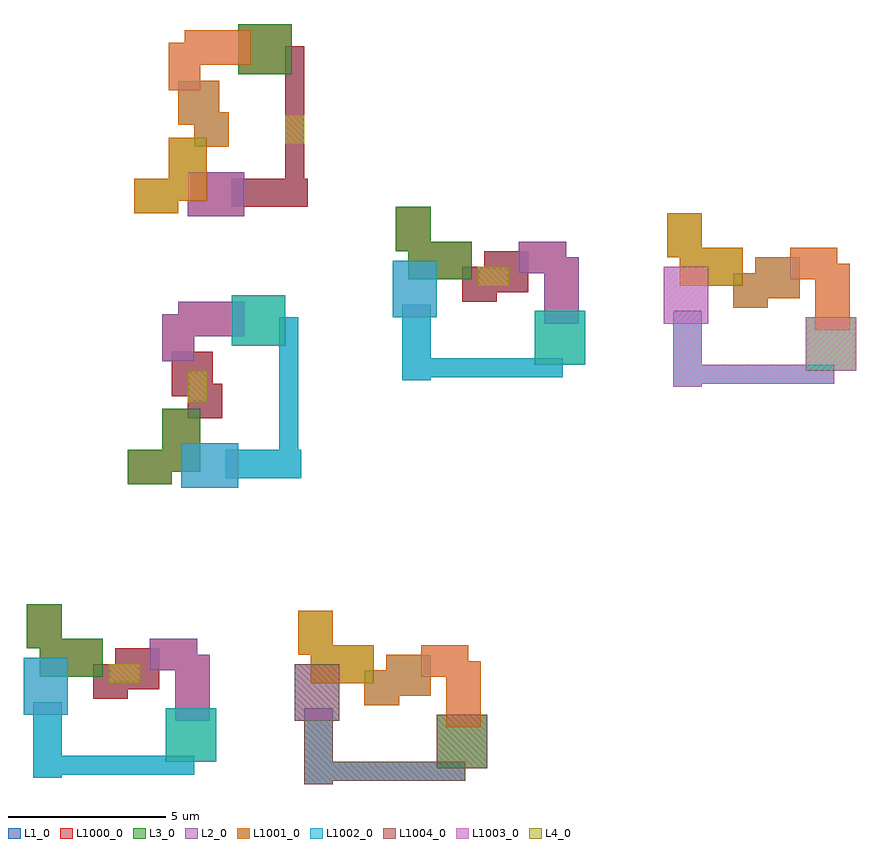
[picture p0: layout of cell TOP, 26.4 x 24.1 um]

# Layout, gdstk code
from math import pi, radians
import gdstk
lib = gdstk.Library(unit=1e-6, precision=1e-09)
def R(c, l, rs):  # rectangles x0, y0, x1, y1
    for r in rs: c.add(gdstk.rectangle(r[:2], r[2:], *l))
L1_0 = (1, 0)
L2_0 = (2, 0)
L3_0 = (3, 0)
L4_0 = (4, 0)
L1000_0 = (1000, 0)
L1001_0 = (1001, 0)
L1002_0 = (1002, 0)
L1003_0 = (1003, 0)
L1004_0 = (1004, 0)

c_c1 = lib.new_cell('C1')
R(c_c1, L1_0, [(-2.7,-3.3,-1.8,-0.9), (-2.1,-3.2,2.4,-2.6), (-0.8,-0.8,0.3,0.3), (-0.1,-0.5,1.3,0.8)])
R(c_c1, L2_0, [(1.8,-1.5,2.9,0.6), (-3,-1.3,-1.6,0.5), (1,0.1,2.5,1.1)])
R(c_c1, L3_0, [(1.5,-2.8,3.1,-1.1), (-2.5,-0.1,-0.5,1.1), (-2.9,0.8,-1.8,2.2)])

c_c2 = lib.new_cell('C2')
R(c_c2, L4_0, [(2.7,3.1,3.7,3.7)])
R(c_c2, L1001_0, [(13.4,1.7,14.5,3.8), (10.8,2.4,11.9,3.5), (11.5,2.7,12.9,4), (9.1,3.1,11.1,4.3), (12.6,3.3,14.1,4.3), (8.7,4,9.8,5.4)])
R(c_c2, L1002_0, [(0.3,0.1,1.2,2.5), (0.9,0.2,5.4,0.8), (4.5,0.6,6.1,2.3), (0,2.1,1.4,3.9)])
c_c2.add(gdstk.Reference(c_c1, (3,3.4)))
c_c2.add(gdstk.Reference(c_c1, (11.6,3.2)))

c_c3 = lib.new_cell('C3')
R(c_c3, L4_0, [(5,10.9,5.6,11.8)])
R(c_c3, L1003_0, [(17.3,3.2,18.2,5.6), (17.9,3.3,22.4,3.9), (21.5,3.7,23.1,5.4), (17,5.2,18.4,7)])
c_c3.add(gdstk.Reference(c_c2, (5.6,0), rotation=pi/2))
c_c3.add(gdstk.Reference(c_c2, (8.4,3.3)))

top = lib.new_cell('TOP')
R(top, L1000_0, [(5.7,2,6.8,4.1), (3.1,2.7,4.2,3.8), (3.8,3,5.2,4.3), (3.6,3.2,4.6,3.8), (1.4,3.4,3.4,4.6), (4.9,3.6,6.4,4.6), (1,4.3,2.1,5.7), (4.2,9.5,5.6,10.6), (5.3,9.9,6.5,11.9), (6.1,11.6,7.2,12.7), (6.1,12.1,6.7,13.1), (5.6,12.3,6.9,13.7), (5.3,13.4,6.3,14.9), (5.8,14.2,7.9,15.3), (17.4,14.6,18.5,16.7), (14.8,15.3,15.9,16.4), (15.5,15.6,16.9,16.9), (15.3,15.8,16.3,16.4), (13.1,16,15.1,17.2), (16.6,16.2,18.1,17.2), (12.7,16.9,13.8,18.3), (6.1,18,7.9,19.4), (7.5,18.3,9.9,19.2), (9.2,18.9,9.8,23.4), (9.2,20.3,9.8,21.2), (7.7,22.5,9.4,24.1)])
R(top, L1004_0, [(9.8,0,10.7,2.4), (10.4,0.1,14.9,0.7), (14,0.5,15.6,2.2), (9.5,2,10.9,3.8)])
top.add(gdstk.Reference(c_c2, (0.9,0.1)))
top.add(gdstk.Reference(c_c3, (4.2,9.4)))

lib.write_gds('TOP.gds')
